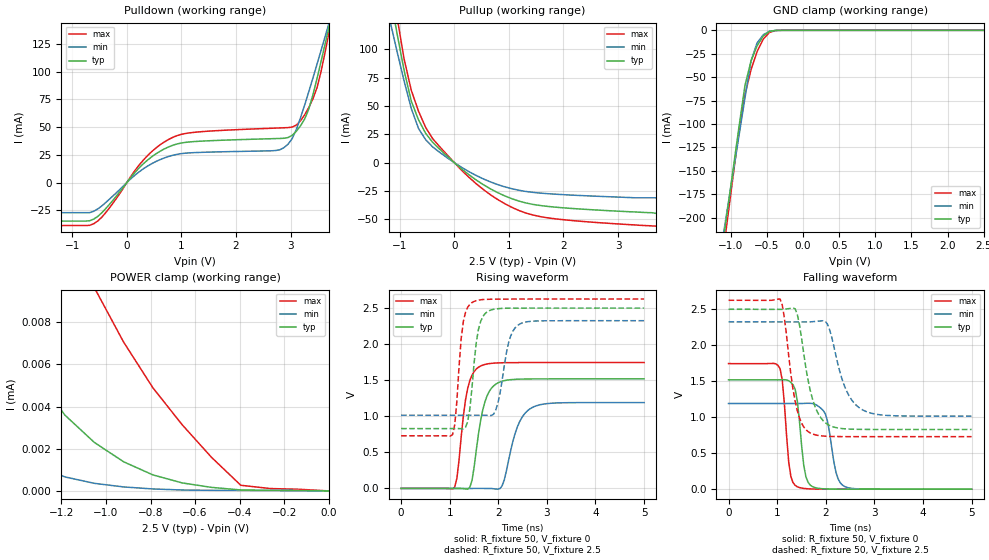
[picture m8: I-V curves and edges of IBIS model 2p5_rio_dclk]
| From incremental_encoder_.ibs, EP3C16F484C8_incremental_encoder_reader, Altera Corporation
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[Model] 2p5_rio_dclk
Model_type I/O
Polarity Non-Inverting
Enable Active-Low
Vinl  = 0.7V
Vinh  = 1.7V
Vmeas = 1.1625V
Rref  = 10M
Cref  = 0pF
Vref  = 0V
C_comp  4.4pF   4.4pF   4.4pF
[Temperature Range] 25   85   0
[Voltage Range]   2.5   2.325   2.625
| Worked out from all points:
|   slope of the pulldown table from 0 to 0.375 V, typ, clamps not added: 18.7 ohm
|   slope of the pullup table from 0 to 0.375 V, typ, clamps not added: 26.1 ohm
|   GND clamp passes 1 mA (typ) near -0.45 V on its own axis
|   rising waveform, R_fixture 50, V_fixture 0: 20-80 % time 229ps typ, 295ps min, 189ps max; typ from 0 V to 1.52 V
|   falling waveform, R_fixture 50, V_fixture 0: 20-80 % time 138ps typ, 176ps min, 123ps max; typ from 1.52 V to 0 V
|   rising waveform, R_fixture 50, V_fixture 2.5: 20-80 % time 159ps typ, 210ps min, 134ps max; typ from 0.83 V to 2.5 V
|   falling waveform, R_fixture 50, V_fixture 2.5: 20-80 % time 284ps typ, 358ps min, 235ps max; typ from 2.5 V to 0.83 V
[GND Clamp]
| voltage   I (typ)   I (min)   I (max)
-2.5V     -1.003A    -896.6mA   -1.061A
-1.144V   -246.2mA   -237.3mA   -259.1mA
-1.059V   -198.9mA   -196.1mA   -209mA
-974.6mV  -151.6mA   -154.9mA   -158.9mA
-889.8mV  -104.3mA   -113.6mA   -108.8mA
-805.1mV  -58.87mA   -72.41mA   -68.82mA
-720.3mV  -32.71mA   -32.28mA   -41.9mA
-635.6mV  -16.39mA   -13.32mA   -22.54mA
-550.8mV  -6.002mA   -4.742mA   -9.332mA
-466.1mV  -1.153mA   -978.7uA   -2.246mA
-296.6mV  -4.671uA   -8.865uA   -9.476uA
2.5V      0A         0A         0A
[Pulldown]
| voltage   I (typ)   I (min)   I (max)
-2.5V     -34.78mA   -27.18mA   -38.8mA
-681.8mV  -34.48mA   -27.18mA   -38.61mA
-378.8mV  -23.02mA   -17.66mA   -26.64mA
303mV     16.98mA    12.42mA    20.3mA
757.6mV   31.98mA    23.39mA    38.68mA
1.212V    36.88mA    26.93mA    45.19mA
2.803V    39.77mA    29.6mA     49.27mA
3.03V     42.62mA    39.69mA    50.04mA
3.333V    66.15mA    81.84mA    67.63mA
3.485V    93.83mA    106.7mA    85.6mA
3.712V    142mA      145.1mA    137.2mA
5V        410.7mA    367.5mA    448.7mA
[POWER Clamp]
| voltage   I (typ)   I (min)   I (max)
-2.5V     124.2uA    71.4uA     182.5uA
-1.842V   22.83uA    9.323uA    54.47uA
-1.71V    16.91uA    6.328uA    36.85uA
-1.579V   12.15uA    3.972uA    28.84uA
-1.447V   8.324uA    2.282uA    22.32uA
-1.316V   5.498uA    1.229uA    16.96uA
-1.184V   3.593uA    664.1nA    12.8uA
-1.053V   2.304uA    360.8nA    9.644uA
-789.5mV  760.1nA    93.71nA    4.89uA
-526.3mV  168.2nA    28.96nA    1.594uA
-394.7mV  45.58nA    23.7nA     267.4nA
0V        0A         0A         0A
[Pullup]
| voltage   I (typ)   I (min)   I (max)
-2.5V     493.8mA    405.2mA    569.3mA
-1.184V   148.8mA    125.7mA    168.6mA
-1.053V   114.3mA    98.32mA    128.8mA
-921.1mV  81.18mA    71.87mA    91.27mA
-789.5mV  54.19mA    47.67mA    63.69mA
-657.9mV  37.86mA    30.2mA     45.46mA
-526.3mV  25.81mA    20.23mA    31.04mA
263.2mV   -10.48mA   -7.788mA   -12.71mA
1.053V    -31.7mA    -22.92mA   -39.3mA
1.579V    -37.74mA   -26.79mA   -47.52mA
2.237V    -40.58mA   -28.74mA   -51.28mA
5V        -44.6mA    -30.91mA   -56.02mA
[Ramp]
dV/dt_r   9.114e-001/2.285e-010  7.140e-001/2.949e-010  1.047e+000/1.892e-010
dV/dt_f   1.002e+000/2.836e-010  7.860e-001/3.581e-010  1.137e+000/2.348e-010
R_load = 50ohms
[Rising Waveform]
R_fixture   = 50
V_fixture   = 0
V_fixture_min = 0
V_fixture_max = 0
| time   V (typ)   V (min)   V (max)
0s        0V         0V         0V
1.104ns   279.8uV    -93.67uV   20.31mV
1.326ns   -6.735mV   -106.7uV   1.225V
1.415ns   15.67mV    -109.7uV   1.495V
1.636ns   938.9mV    210.1uV    1.697V
1.813ns   1.343V     -373.5uV   1.73V
2.079ns   1.486V     35.95mV    1.742V
2.389ns   1.514V     847mV      1.744V
2.699ns   1.518V     1.122V     1.745V
5ns       1.519V     1.19V      1.745V
[Falling Waveform]
R_fixture   = 50
V_fixture   = 0
V_fixture_min = 0
V_fixture_max = 0
| time   V (typ)   V (min)   V (max)
0s        1.519V     1.19V      1.745V
1.06ns    1.52V      1.19V      1.675V
1.237ns   1.507V     1.19V      378.1mV
1.415ns   1.226V     1.191V     33.41mV
1.548ns   328.9mV    1.192V     10.51mV
1.725ns   35.76mV    1.19V      2.545mV
1.991ns   3.815mV    1.048V     314.5uV
2.212ns   664.8uV    228.3mV    54.01uV
2.389ns   161.5uV    36.75mV    11.91uV
5ns       0V         0V         0V
[Rising Waveform]
R_fixture   = 50
V_fixture   = 2.5
V_fixture_min = 2.325
V_fixture_max = 2.625
| time   V (typ)   V (min)   V (max)
0s        829.6mV    1.015V     729.7mV
1.06ns    829.8mV    1.014V     747.2mV
1.282ns   825.7mV    1.014V     2.313V
1.459ns   1.393V     1.014V     2.576V
1.592ns   2.203V     1.015V     2.61V
1.813ns   2.464V     1.012V     2.622V
1.946ns   2.488V     1.082V     2.624V
2.212ns   2.498V     2.019V     2.624V
2.433ns   2.499V     2.275V     2.625V
5ns       2.5V       2.325V     2.625V
[Falling Waveform]
R_fixture   = 50
V_fixture   = 2.5
V_fixture_min = 2.325
V_fixture_max = 2.625
| time   V (typ)   V (min)   V (max)
0s        2.5V       2.325V     2.625V
1.06ns    2.499V     2.324V     2.642V
1.149ns   2.501V     2.324V     2.382V
1.282ns   2.513V     2.324V     1.598V
1.415ns   2.427V     2.324V     1.09V
1.68ns    1.373V     2.325V     781.1mV
2.035ns   902mV      2.292V     734.5mV
2.389ns   838.9mV    1.426V     730.2mV
2.744ns   830.8mV    1.107V     729.8mV
5ns       829.6mV    1.015V     729.7mV
